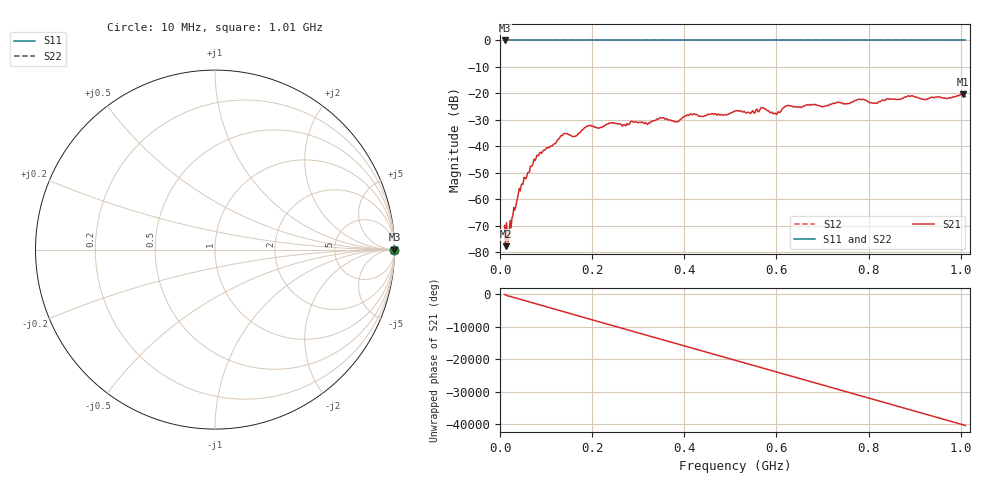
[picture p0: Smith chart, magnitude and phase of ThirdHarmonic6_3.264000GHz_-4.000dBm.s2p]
! 8/17/2025 10:04:44 AM
! C:\ANRITSUVNA\TEMP\TEMP.S2P
! CHANNEL.1
! TR.MEASUREMENT
! RAW.DATA
! RF.CORRECTION.OFF
! AVERAGING.OFF
! IF.BANDWIDTH: 5KHZ
! SWEEPTYPE:  FREQ.SWEEP(Linear)
! Reference Plane Port Info
! PORT:  PORT1  PORT2
! DISTANCE:  0  m  0  m
! TIME:  0  s  0  s
! PHASE.OFFSET:  0  deg.  0  deg.
! LOSS:  0  dB  0  dB
! REF.LOSS:  0  dB  0  dB
! REF.FREQ:  0  Hz  0  Hz
! Power Info
! POWER:  -20  dBm  -20  dBm
! EFF.POWER:  -20  dBm  -20  dBm
! SOURCE.ATTEN:  0  dB  0  dB
! TEST.ATTEN:  0  dB  0  dB
# GHZ S RI R 50.0
! FREQ.GHZ  S11RE  S11IM  S21RE  S21IM  S12RE  S12IM  S22RE  S22IM
!; PortSelection: Port_12
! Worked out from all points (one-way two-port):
!   501 points, 10 MHz to 1.01 GHz, reference 50 ohm
!   highest |S21| = -20.33 dB at 1.004 GHz (marker M1); lowest = -77.6 dB at 12 MHz (marker M2)
!   lowest |S11| = 0.0 dB at 10 MHz (marker M3)
!   |S11| at or under -10 dB: nowhere
!   |S22| runs from 0.0 to 0.0 dB; largest |S21 - S12| = 1.1
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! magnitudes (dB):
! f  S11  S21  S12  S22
! 10 MHz  0.0  -69.8  0.0  0.0
! 12 MHz  0.0  -77.6  0.0  0.0
! 16 MHz  0.0  -75.4  0.0  0.0
! 20 MHz  0.0  -71.8  0.0  0.0
! 44 MHz  0.0  -56.8  0.0  0.0
! 78 MHz  0.0  -44.6  0.0  0.0
! 136 MHz  0.0  -35.8  0.0  0.0
! 162 MHz  0.0  -36.3  0.0  0.0
! 178 MHz  0.0  -33.8  0.0  0.0
! 192 MHz  0.0  -32.1  0.0  0.0
! 322 MHz  0.0  -31.3  0.0  0.0
! 344 MHz  0.0  -29.6  0.0  0.0
! 384 MHz  0.0  -30.7  0.0  0.0
! 416 MHz  0.0  -28.0  0.0  0.0
! 510 MHz  0.0  -26.6  0.0  0.0
! 570 MHz  0.0  -25.3  0.0  0.0
! 598 MHz  0.0  -27.5  0.0  0.0
! 624 MHz  0.0  -24.5  0.0  0.0
! 678 MHz  0.0  -24.2  0.0  0.0
! 844 MHz  0.0  -22.1  0.0  0.0
! 1.004 GHz  0.0  -20.3  0.0  0.0
! 1.01 GHz  0.0  -21.1  0.0  0.0
